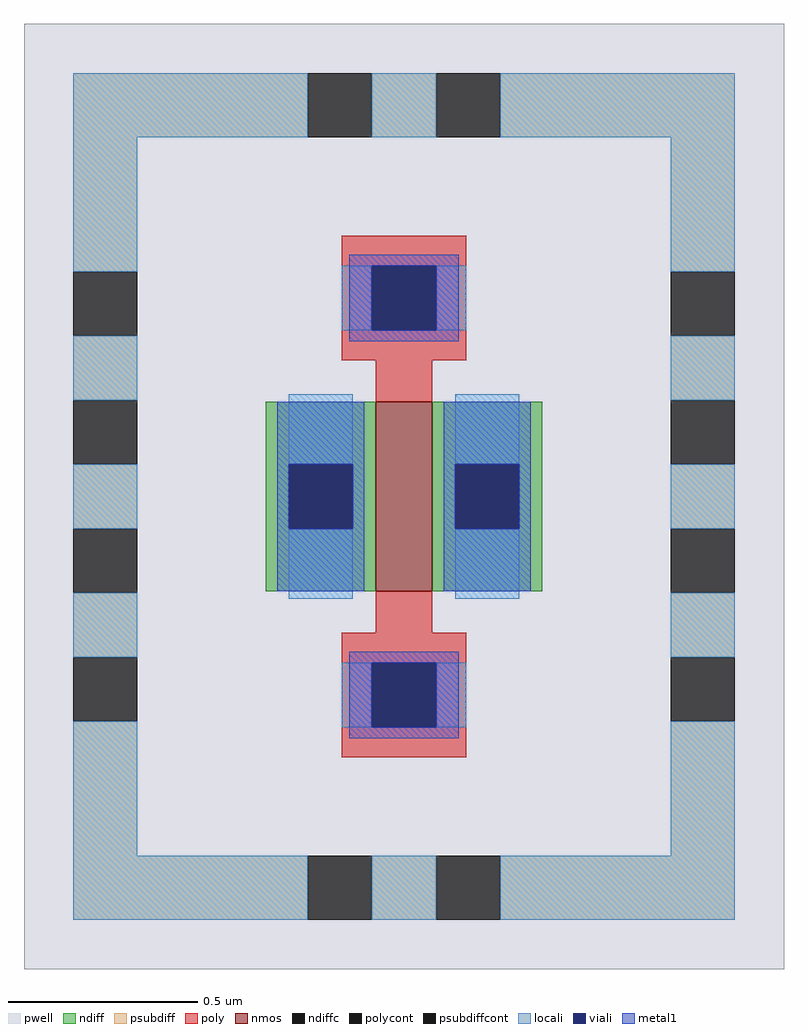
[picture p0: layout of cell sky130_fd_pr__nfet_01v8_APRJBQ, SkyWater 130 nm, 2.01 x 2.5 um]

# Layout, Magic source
magic
tech sky130A
magscale 1 2
<< pwell >>
rect -201 -250 201 250
<< nmos >>
rect -15 -50 15 50
<< ndiff >>
rect -73 17 -15 50
rect -73 -17 -61 17
rect -27 -17 -15 17
rect -73 -50 -15 -17
rect 15 17 73 50
rect 15 -17 27 17
rect 61 -17 73 17
rect 15 -50 73 -17
<< ndiffc >>
rect -61 -17 -27 17
rect 27 -17 61 17
<< psubdiff >>
rect -175 190 -51 224
rect -17 190 17 224
rect 51 190 175 224
rect -175 119 -141 190
rect -175 51 -141 85
rect 141 119 175 190
rect 141 51 175 85
rect -175 -17 -141 17
rect 141 -17 175 17
rect -175 -85 -141 -51
rect -175 -190 -141 -119
rect 141 -85 175 -51
rect 141 -190 175 -119
rect -175 -224 -51 -190
rect -17 -224 17 -190
rect 51 -224 175 -190
<< psubdiffcont >>
rect -51 190 -17 224
rect 17 190 51 224
rect -175 85 -141 119
rect 141 85 175 119
rect -175 17 -141 51
rect -175 -51 -141 -17
rect 141 17 175 51
rect 141 -51 175 -17
rect -175 -119 -141 -85
rect 141 -119 175 -85
rect -51 -224 -17 -190
rect 17 -224 51 -190
<< poly >>
rect -33 122 33 138
rect -33 88 -17 122
rect 17 88 33 122
rect -33 72 33 88
rect -15 50 15 72
rect -15 -72 15 -50
rect -33 -88 33 -72
rect -33 -122 -17 -88
rect 17 -122 33 -88
rect -33 -138 33 -122
<< polycont >>
rect -17 88 17 122
rect -17 -122 17 -88
<< locali >>
rect -175 190 -51 224
rect -17 190 17 224
rect 51 190 175 224
rect -175 119 -141 190
rect -33 88 -17 122
rect 17 88 33 122
rect 141 119 175 190
rect -175 51 -141 85
rect -175 -17 -141 17
rect -175 -85 -141 -51
rect -61 17 -27 54
rect -61 -54 -27 -17
rect 27 17 61 54
rect 27 -54 61 -17
rect 141 51 175 85
rect 141 -17 175 17
rect 141 -85 175 -51
rect -175 -190 -141 -119
rect -33 -122 -17 -88
rect 17 -122 33 -88
rect 141 -190 175 -119
rect -175 -224 -51 -190
rect -17 -224 17 -190
rect 51 -224 175 -190
<< viali >>
rect -17 88 17 122
rect -61 -17 -27 17
rect 27 -17 61 17
rect -17 -122 17 -88
<< metal1 >>
rect -29 122 29 128
rect -29 88 -17 122
rect 17 88 29 122
rect -29 82 29 88
rect -67 17 -21 50
rect -67 -17 -61 17
rect -27 -17 -21 17
rect -67 -50 -21 -17
rect 21 17 67 50
rect 21 -17 27 17
rect 61 -17 67 17
rect 21 -50 67 -17
rect -29 -88 29 -82
rect -29 -122 -17 -88
rect 17 -122 29 -88
rect -29 -128 29 -122
<< properties >>
string FIXED_BBOX -158 -207 158 207
<< end >>
